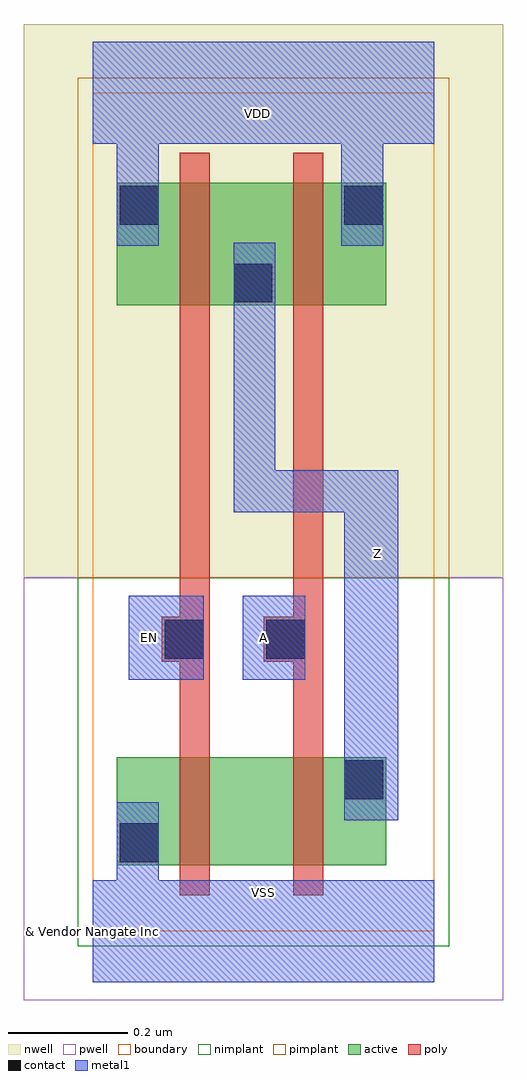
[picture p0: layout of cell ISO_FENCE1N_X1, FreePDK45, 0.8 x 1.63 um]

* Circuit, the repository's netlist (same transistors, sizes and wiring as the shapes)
* 
* ******************************************************************************
* *                                                                            *
* *                   Copyright (C) 2004-2011, Nangate Inc.                    *
* *                           All rights reserved.                             *
* *                                                                            *
* * Nangate and the Nangate logo are trademarks of Nangate Inc.                *
* *                                                                            *
* * All trademarks, logos, software marks, and trade names (collectively the   *
* * "Marks") in this program are proprietary to Nangate or other respective    *
* * owners that have granted Nangate the right and license to use such Marks.  *
* * You are not permitted to use the Marks without the prior written consent   *
* * of Nangate or such third party that may own the Marks.                     *
* *                                                                            *
* * This file has been provided pursuant to a License Agreement containing     *
* * restrictions on its use. This file contains valuable trade secrets and     *
* * proprietary information of Nangate Inc., and is protected by U.S. and      *
* * international laws and/or treaties.                                        *
* *                                                                            *
* * The copyright notice(s) in this file does not indicate actual or intended  *
* * publication of this file.                                                  *
* *                                                                            *
* *     NGLibraryCreator, v2010.08-HR32-SP3-2010-08-05 - build 1009061800      *
* *                                                                            *
* ******************************************************************************
* 
* 
* Running on server08.nangate.com for user Giancarlo Franciscatto (gfr).
* Local time is now Thu, 6 Jan 2011, 19:45:45.
* Main process id is 3320.
*
********************************************************************************
*                                                                              *
* Cellname:   ISO_FENCE1N_X1.                                                  *
*                                                                              *
* Technology: NCSU FreePDK 45nm.                                               *
* Format:     Cdl.                                                             *
*                                                                              *
* Written on server08.nangate.com for user Giancarlo Franciscatto (gfr)        *
* at 19:45:45 on Thu, 6 Jan 2011.                                              *
*                                                                              *
********************************************************************************
.SUBCKT ISO_FENCE1N_X1 A EN Z VDD VSS 
*.PININFO A:I EN:I Z:O VDD:P VSS:G 
*.EQN Z=!(A * EN)
M_i_0 net_000 EN VSS VSS NMOS_VTL W=0.180000U L=0.050000U
M_i_5 Z A net_000 VSS NMOS_VTL W=0.180000U L=0.050000U
M_i_11 Z EN VDD VDD PMOS_VTL W=0.205000U L=0.050000U
M_i_18 VDD A Z VDD PMOS_VTL W=0.205000U L=0.050000U
.ENDS 

********************************************************************************
*
* END
*
********************************************************************************

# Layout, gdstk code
import gdstk
lib = gdstk.Library(unit=1e-6, precision=1e-10)
def R(c, l, rs):  # rectangles x0, y0, x1, y1
    for r in rs: c.add(gdstk.rectangle(r[:2], r[2:], *l))
def P(c, l, *ps):  # polygons
    for p in ps: c.add(gdstk.Polygon(p, *l))
active = (1, 0)
pwell = (2, 0)
nwell = (3, 0)
nimplant = (4, 0)
pimplant = (5, 0)
poly = (9, 0)
contact = (10, 0)
metal1 = (11, 0)
boundary = (235, 0)

iso_fence1n_x1 = lib.new_cell('ISO_FENCE1N_X1')
R(iso_fence1n_x1, active, [(0.04,0.11,0.49,0.29), (0.04,1.045,0.49,1.25)])
R(iso_fence1n_x1, pwell, [(-0.115,-0.115,0.685,0.59)])
R(iso_fence1n_x1, nwell, [(-0.115,0.59,0.685,1.515)])
R(iso_fence1n_x1, nimplant, [(-0.025,-0.025,0.595,0.59)])
R(iso_fence1n_x1, pimplant, [(-0.025,0.59,0.595,1.425)])
P(iso_fence1n_x1, poly, [(0.115,0.45),(0.145,0.45),(0.145,0.06),(0.195,0.06),(0.195,1.3),(0.145,1.3),(0.145,0.525),(0.115,0.525)],
  [(0.285,0.45),(0.335,0.45),(0.335,0.06),(0.385,0.06),(0.385,1.3),(0.335,1.3),(0.335,0.525),(0.285,0.525)])
R(iso_fence1n_x1, contact, [(0.045,0.115,0.11,0.18), (0.42,0.22,0.485,0.285), (0.12,0.455,0.185,0.52), (0.29,0.455,0.355,0.52), (0.235,1.05,0.3,1.115), (0.045,1.18,0.11,1.245), (0.42,1.18,0.485,1.245)])
R(iso_fence1n_x1, metal1, [(0.06,0.42,0.185,0.56), (0.25,0.42,0.355,0.56)])
P(iso_fence1n_x1, metal1, [(0.235,0.7),(0.42,0.7),(0.42,0.185),(0.51,0.185),(0.51,0.77),(0.305,0.77),(0.305,1.15),(0.235,1.15)],
  [(0,-0.085),(0.57,-0.085),(0.57,0.085),(0.11,0.085),(0.11,0.215),(0.04,0.215),(0.04,0.085),(0,0.085)],
  [(0,1.315),(0.04,1.315),(0.04,1.145),(0.11,1.145),(0.11,1.315),(0.415,1.315),(0.415,1.145),(0.485,1.145),(0.485,1.315),(0.57,1.315),(0.57,1.485),(0,1.485)])
R(iso_fence1n_x1, boundary, [(0,0,0.57,1.4)])
iso_fence1n_x1.add(gdstk.Label('A', (0.285,0.49), layer=11, texttype=0))
iso_fence1n_x1.add(gdstk.Label('EN', (0.095,0.49), layer=11, texttype=0))
iso_fence1n_x1.add(gdstk.Label('VDD', (0.275,1.365), layer=11, texttype=0))
iso_fence1n_x1.add(gdstk.Label('VSS', (0.285,0.065), layer=11, texttype=0))
iso_fence1n_x1.add(gdstk.Label('Z', (0.475,0.63), layer=11, texttype=0))
iso_fence1n_x1.add(gdstk.Label('& Vendor Nangate Inc', (0,0), layer=63, texttype=63))
iso_fence1n_x1.add(gdstk.Label('& Product Open Cell Library', (0,0), layer=63, texttype=63))
iso_fence1n_x1.add(gdstk.Label('& Version 2010_12', (0,0), layer=63, texttype=63))
iso_fence1n_x1.add(gdstk.Label('& Instance ISO_FENCE1N_X1', (0,0), layer=63, texttype=63))

lib.write_gds('ISO_FENCE1N_X1.gds')
